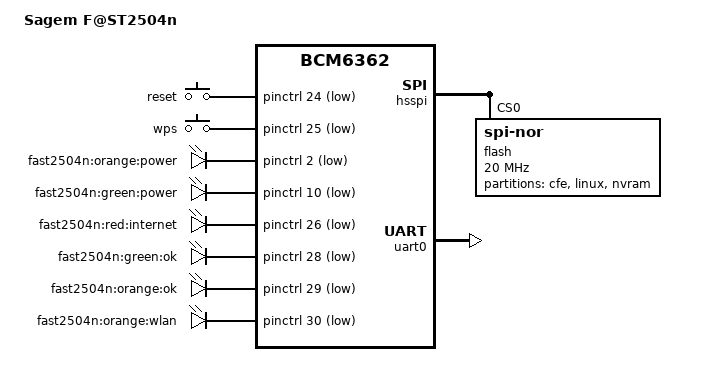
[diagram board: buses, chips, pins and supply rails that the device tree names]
/dts-v1/;

#include "bcm6362.dtsi"

#include <dt-bindings/input/input.h>

/ {
	model = "Sagem F@ST2504n";
	compatible = "sagem,f@st2504n", "brcm,bcm6362";

	chosen {
		bootargs = "rootfstype=squashfs,jffs2 noinitrd console=ttyS0,115200";
		stdout-path = "serial0:115200n8";
	};

	gpio-keys-polled {
		compatible = "gpio-keys-polled";
		#address-cells = <1>;
		#size-cells = <0>;
		poll-interval = <20>;
		debounce-interval = <60>;

		reset {
			label = "reset";
			gpios = <&pinctrl 24 1>;
			linux,code = <KEY_RESTART>;
		};
		wps {
			label = "wps";
			gpios = <&pinctrl 25 1>;
			linux,code = <KEY_WPS_BUTTON>;
		};
	};

	gpio-leds {
		compatible = "gpio-leds";

		power_orange {
			label = "fast2504n:orange:power";
			gpios = <&pinctrl 2 1>;
		};
		power_green {
			label = "fast2504n:green:power";
			gpios = <&pinctrl 10 1>;
			default-state = "on";
		};
		inet_red {
			label = "fast2504n:red:internet";
			gpios = <&pinctrl 26 1>;
		};
		ok_green {
			label = "fast2504n:green:ok";
			gpios = <&pinctrl 28 1>;
		};
		ok_orange {
			label = "fast2504n:orange:ok";
			gpios = <&pinctrl 29 1>;
		};
		wlan_orangee {
			label = "fast2504n:orange:wlan";
			gpios = <&pinctrl 30 1>;
		};
	};
};

&hsspi {
	status = "ok";

	flash@0 {
		compatible = "jedec,spi-nor";
		spi-max-frequency = <20000000>;
		spi-tx-bus-width = <2>;
		spi-rx-bus-width = <2>;
		reg = <0>;

		#address-cells = <1>;
		#size-cells = <1>;

		partitions {
			compatible = "fixed-partitions";
			#address-cells = <1>;
			#size-cells = <1>;

			cfe@0 {
				reg = <0x000000 0x010000>;
				label = "cfe";
				read-only;
			};

			linux@10000 {
				reg = <0x010000 0x7e0000>;
				label = "linux";
				compatible = "brcm,bcm963xx-imagetag";
			};

			nvram@7f0000 {
				reg = <0x7f0000 0x010000>;
				label = "nvram";
			};
		};
	};
};

&uart0 {
	status = "ok";
};
